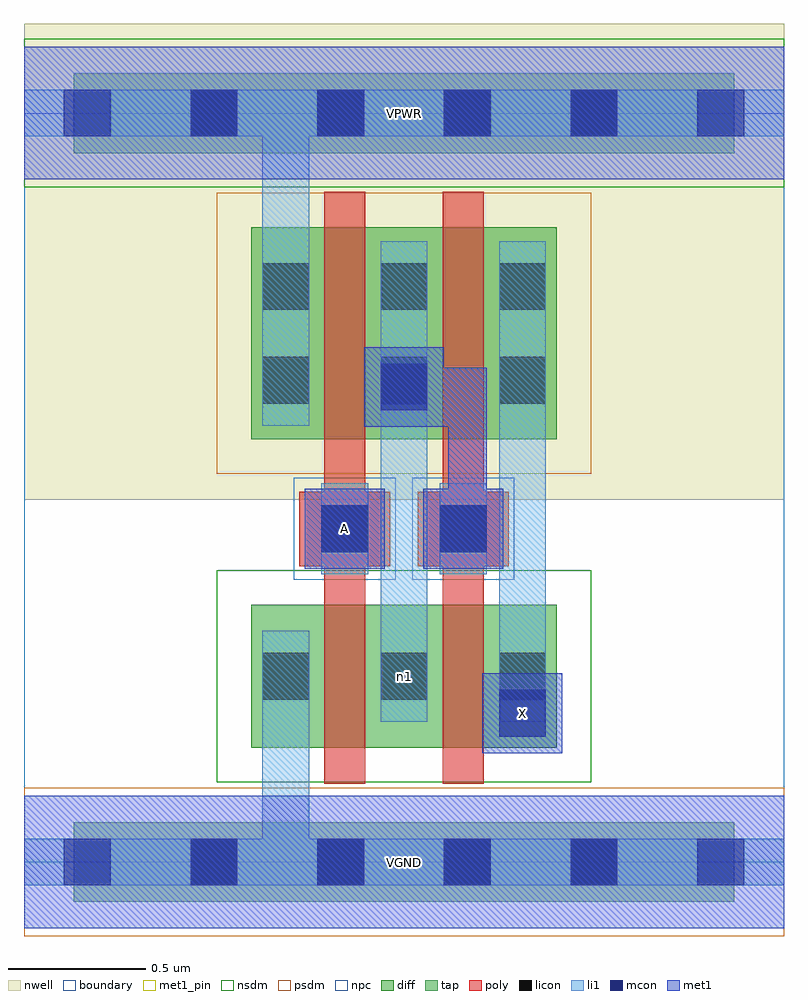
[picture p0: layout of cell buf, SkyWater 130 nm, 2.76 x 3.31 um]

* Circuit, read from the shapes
.subckt buf A VGND VPWR X n1
XM1 n1 A VGND VGND sky130_fd_pr__nfet_01v8 w=0.52 l=0.15
XM2 X n1 n1 VGND sky130_fd_pr__nfet_01v8 w=0.52 l=0.15
XM3 n1 A VPWR VPWR sky130_fd_pr__pfet_01v8 w=0.77 l=0.15
XM4 X n1 n1 VPWR sky130_fd_pr__pfet_01v8 w=0.77 l=0.15
.ends

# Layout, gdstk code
import gdstk
lib = gdstk.Library(unit=1e-6, precision=1e-09)
def R(c, l, rs):  # rectangles x0, y0, x1, y1
    for r in rs: c.add(gdstk.rectangle(r[:2], r[2:], *l))
def A(c, l, x, y, w, h, nx, ny, dx, dy):  # array of equal rectangles
    R(c, l, [(x+i*dx, y+j*dy, x+i*dx+w, y+j*dy+h) for i in range(nx) for j in range(ny)])
nwell = (64, 20)
diff = (65, 20)
tap = (65, 44)
poly = (66, 20)
licon = (66, 44)
li1 = (67, 20)
mcon = (67, 44)
met1_pin = (68, 16)
met1 = (68, 20)
nsdm = (93, 44)
psdm = (94, 20)
npc = (95, 20)
boundary = (235, 4)

buf = lib.new_cell('buf')
R(buf, nwell, [(0,1.315,2.76,3.045)])
R(buf, diff, [(0.825,0.415,1.935,0.935), (0.825,1.535,1.935,2.305)])
R(buf, tap, [(0.18,-0.145,2.58,0.145), (0.18,2.575,2.58,2.865)])
R(buf, poly, [(1.09,0.285,1.24,2.435), (1.52,0.285,1.67,2.435), (1,1.075,1.33,1.345), (1.43,1.075,1.76,1.345)])
A(buf, licon, 0.605, -0.085, 0.17, 0.17, 4, 2, 0.46, 2.72)
A(buf, licon, 0.865, 0.59, 0.17, 0.17, 3, 2, 0.43, 1.075)
A(buf, licon, 0.865, 2.005, 0.17, 0.17, 3, 1, 0.43, 0)
R(buf, licon, [(1.08,1.125,1.25,1.295), (1.51,1.125,1.68,1.295)])
A(buf, li1, 0.865, 0.51, 0.17, 0.33, 3, 1, 0.43, 0)
A(buf, li1, 0.865, 1.585, 0.17, 0.67, 3, 1, 0.43, 0)
R(buf, li1, [(0,-0.085,2.76,0.085), (0.865,-0.085,1.035,0.84), (1.295,0.51,1.465,2.255), (1.725,0.51,1.895,2.255), (1.08,1.045,1.25,1.375), (1.51,1.045,1.68,1.375), (0.865,1.585,1.035,2.805), (0,2.635,2.76,2.805)])
A(buf, mcon, 0.145, -0.085, 0.17, 0.17, 6, 2, 0.46, 2.72)
R(buf, mcon, [(1.725,0.455,1.895,0.625), (1.08,1.125,1.25,1.295), (1.51,1.125,1.68,1.295), (1.295,1.64,1.465,1.81)])
R(buf, met1_pin, [(0,-0.24,2.76,0.24), (1.665,0.395,1.955,0.685), (1.02,1.065,1.31,1.355), (0,2.48,2.76,2.96)])
R(buf, met1, [(0,-0.24,2.76,0.24), (1.665,0.395,1.955,0.685), (1.02,1.065,1.31,1.355), (1.45,1.065,1.74,1.355), (1.54,1.195,1.68,1.335), (1.54,1.195,1.68,1.795), (1.235,1.58,1.525,1.87), (1.525,1.58,1.54,1.795), (1.525,1.58,1.54,1.795), (1.525,1.58,1.54,1.795), (1.525,1.58,1.54,1.795), (1.525,1.58,1.54,1.795), (1.525,1.58,1.54,1.795), (1.31,1.655,1.68,1.795), (0,2.48,2.76,2.96)])
R(buf, nsdm, [(0.7,0.29,2.06,1.06), (0,2.45,2.76,2.99)])
R(buf, psdm, [(0,-0.27,2.76,0.27), (0.7,1.41,2.06,2.43)])
R(buf, npc, [(0.98,1.025,1.35,1.395), (1.41,1.025,1.78,1.395)])
R(buf, boundary, [(0,0,2.76,2.72)])
buf.add(gdstk.Label('n1', (1.38,0.675), layer=67, texttype=5))
buf.add(gdstk.Label('A', (1.165,1.21), layer=68, texttype=5))
buf.add(gdstk.Label('X', (1.81,0.54), layer=68, texttype=5))
buf.add(gdstk.Label('VPWR', (1.38,2.72), layer=68, texttype=5))
buf.add(gdstk.Label('VGND', (1.38,0), layer=68, texttype=5))
buf.add(gdstk.Label('A', (1.165,1.21), layer=68, texttype=16))
buf.add(gdstk.Label('X', (1.81,0.54), layer=68, texttype=16))
buf.add(gdstk.Label('VPWR', (1.38,2.72), layer=68, texttype=16))
buf.add(gdstk.Label('VGND', (1.38,0), layer=68, texttype=16))

lib.write_gds('buf.gds')
